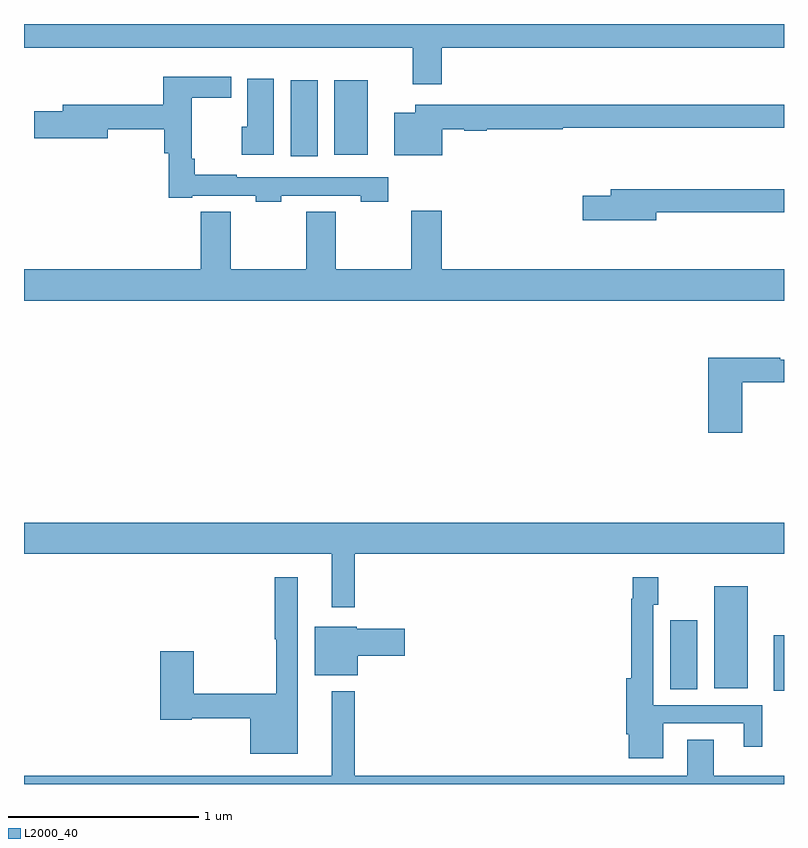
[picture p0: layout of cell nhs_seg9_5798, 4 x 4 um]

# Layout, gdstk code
import gdstk
lib = gdstk.Library(unit=1e-6, precision=1e-09)
def R(c, l, rs):  # rectangles x0, y0, x1, y1
    for r in rs: c.add(gdstk.rectangle(r[:2], r[2:], *l))
def P(c, l, *ps):  # polygons
    for p in ps: c.add(gdstk.Polygon(p, *l))
L2000_40 = (2000, 40)

nhs_seg9_5798 = lib.new_cell('nhs_seg9_5798')
R(nhs_seg9_5798, L2000_40, [(450.947,1236.992,451,1237.282), (450.401,1237,450.544,1237.363), (450.632,1237.004,450.808,1237.54), (448.403,1239.804,448.546,1240.204), (448.634,1239.812,448.81,1240.204)])
P(nhs_seg9_5798, L2000_40, [(449.198,1240.376),(451,1240.376),(451,1240.5),(447,1240.5),(447,1240.376),(449.045,1240.376),(449.045,1240.182),(449.198,1240.182)],
  [(448.353,1239.597),(448.773,1239.597),(448.773,1239.565),(448.918,1239.565),(448.918,1239.693),(448.121,1239.693),(448.121,1239.706),(447.899,1239.706),(447.899,1239.79),(447.884,1239.79),(447.884,1240.113),(448.09,1240.113),(448.09,1240.222),(447.734,1240.222),(447.734,1240.075),(447.203,1240.075),(447.203,1240.041),(447.054,1240.041),(447.054,1239.899),(447.442,1239.899),(447.442,1239.946),(447.739,1239.946),(447.739,1239.821),(447.763,1239.821),(447.763,1239.585),(447.886,1239.585),(447.886,1239.597),(448.221,1239.597),(448.221,1239.565),(448.353,1239.565)],
  [(448.315,1240.213),(448.175,1240.213),(448.175,1239.96),(448.145,1239.96),(448.145,1239.812),(448.315,1239.812)],
  [(449.2,1239.946),(449.316,1239.946),(449.316,1239.938),(449.436,1239.938),(449.436,1239.946),(449.836,1239.946),(449.836,1239.954),(451,1239.954),(451,1240.075),(449.06,1240.075),(449.06,1240.033),(448.949,1240.033),(448.949,1239.809),(449.2,1239.809)],
  [(450.328,1239.51),(451,1239.51),(451,1239.631),(450.089,1239.631),(450.089,1239.597),(449.94,1239.597),(449.94,1239.467),(450.328,1239.467)],
  [(451,1239.208),(449.198,1239.208),(449.198,1239.517),(449.038,1239.517),(449.038,1239.208),(448.64,1239.208),(448.64,1239.512),(448.486,1239.512),(448.486,1239.208),(448.088,1239.208),(448.088,1239.512),(447.929,1239.512),(447.929,1239.208),(447,1239.208),(447,1239.044),(451,1239.044)],
  [(450.78,1238.614),(451,1238.614),(451,1238.732),(450.98,1238.732),(450.98,1238.743),(450.602,1238.743),(450.602,1238.349),(450.78,1238.349)],
  [(448.741,1237.712),(451,1237.712),(451,1237.876),(447,1237.876),(447,1237.712),(448.619,1237.712),(448.619,1237.431),(448.741,1237.431)],
  [(448.441,1237.588),(448.32,1237.588),(448.32,1237.263),(448.327,1237.263),(448.327,1236.974),(447.894,1236.974),(447.894,1237.198),(447.716,1237.198),(447.716,1236.838),(447.882,1236.838),(447.882,1236.846),(448.19,1236.846),(448.19,1236.659),(448.441,1236.659)],
  [(450.364,1236.819),(450.788,1236.819),(450.788,1236.696),(450.886,1236.696),(450.886,1236.915),(450.312,1236.915),(450.312,1237.443),(450.339,1237.443),(450.339,1237.588),(450.204,1237.588),(450.204,1237.475),(450.196,1237.475),(450.196,1237.057),(450.17,1237.057),(450.17,1236.762),(450.182,1236.762),(450.182,1236.635),(450.364,1236.635)],
  [(448.756,1237.175),(449.005,1237.175),(449.005,1237.317),(448.752,1237.317),(448.752,1237.327),(448.529,1237.327),(448.529,1237.073),(448.756,1237.073)],
  [(451,1236.544),(450.631,1236.544),(450.631,1236.734),(450.491,1236.734),(450.491,1236.544),(448.741,1236.544),(448.741,1236.988),(448.619,1236.988),(448.619,1236.544),(447,1236.544),(447,1236.5),(451,1236.5)])

lib.write_gds('nhs_seg9_5798.gds')
